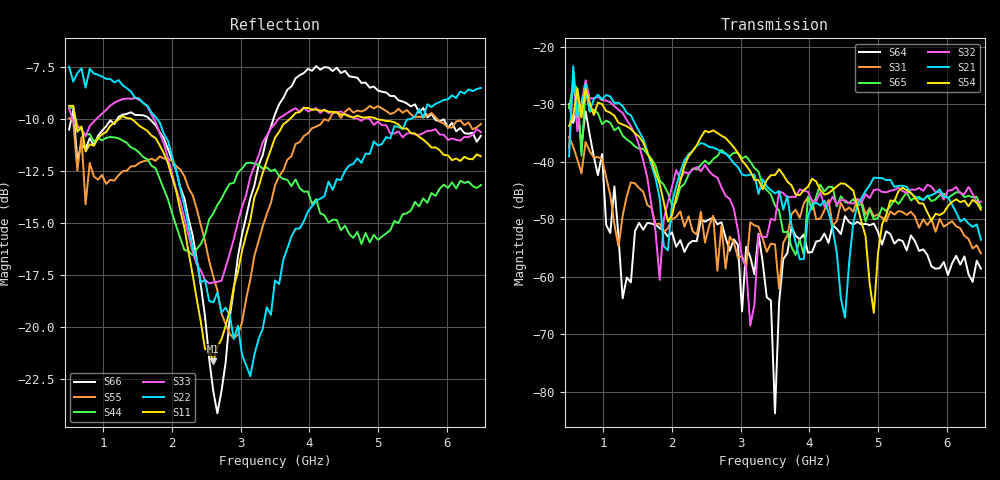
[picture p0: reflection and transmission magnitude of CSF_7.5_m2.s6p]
!Keysight Technologies,M9804A,MY58100912,A.14.10.03
!Date: Thursday, April 27, 2023 10:28:33
!Correction: S11(C  6-Port  )
!S12(C  6-Port  )
!S13(C  6-Port  )
!S14(C  6-Port  )
!S15(C  6-Port  )
!S16(C  6-Port  )
!S21(C  6-Port  )
!S22(C  6-Port  )
!S23(C  6-Port  )
!S24(C  6-Port  )
!S25(C  6-Port  )
!S26(C  6-Port  )
!S31(C  6-Port  )
!S32(C  6-Port  )
!S33(C  6-Port  )
!S34(C  6-Port  )
!S35(C  6-Port  )
!S36(C  6-Port  )
!S41(C  6-Port  )
!S42(C  6-Port  )
!S43(C  6-Port  )
!S44(C  6-Port  )
!S45(C  6-Port  )
!S46(C  6-Port  )
!S51(C  6-Port  )
!S52(C  6-Port  )
!S53(C  6-Port  )
!S54(C  6-Port  )
!S55(C  6-Port  )
!S56(C  6-Port  )
!S61(C  6-Port  )
!S62(C  6-Port  )
!S63(C  6-Port  )
!S64(C  6-Port  )
!S65(C  6-Port  )
!S66(C  6-Port  )
!S6P File: Measurement: :
# Hz S  RI  R 50
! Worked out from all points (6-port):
!   101 points, 500 MHz to 6.5 GHz, reference 50 ohm
!   strongest paths, dB at 500 MHz, 2 GHz, 3.5 GHz, 5 GHz, 6.5 GHz:
!     S54: -33.8, -49.3, -42.3, -56.0, -48.3
!     S21: -39.1, -47.1, -45.5, -42.8, -53.6
!     S32: -37.5, -44.4, -50.2, -44.8, -46.9
!     S65: -30.7, -47.6, -47.6, -49.8, -47.9
!     S31: -35.7, -50.0, -54.4, -49.2, -55.9
!     S64: -30.0, -52.3, -83.7, -52.2, -58.6
!   lowest |S11| = -21.7 dB at 2.6 GHz (marker M1), VSWR 1.18, Z = 42.6 + j2.08 ohm
!   |S11| at or under -10 dB: 589.5 MHz to 1.237 GHz (647.7 MHz wide, 70.9 % of centre); 1.401 GHz to 3.721 GHz (2.319 GHz wide, 90.6 % of centre); 4.974 GHz to end of sweep
